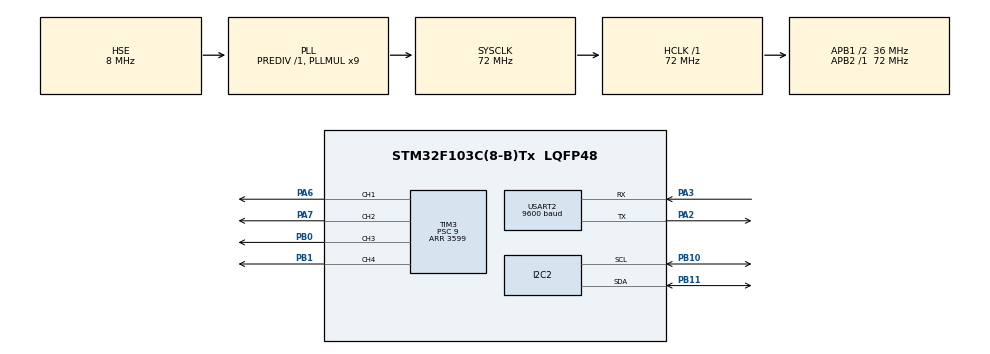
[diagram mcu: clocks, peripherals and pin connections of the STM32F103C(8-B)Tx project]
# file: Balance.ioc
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I2C2.I2C_Mode=I2C_Fast
Mcu.Family=STM32F1
Mcu.Name=STM32F103C(8-B)Tx
Mcu.Package=LQFP48
NVIC.PriorityGroup=NVIC_PRIORITYGROUP_4
NVIC.TIM2_IRQn=true\:1\:0\:true\:false\:true\:true\:true\:true
PA2.Mode=Asynchronous
PA2.Signal=USART2_TX
PA3.Mode=Asynchronous
PA3.Signal=USART2_RX
PA6.Signal=S_TIM3_CH1
PA7.Signal=S_TIM3_CH2
PB0.Signal=S_TIM3_CH3
PB1.Signal=S_TIM3_CH4
PB10.Mode=I2C
PB10.Signal=I2C2_SCL
PB11.Mode=I2C
PB11.Signal=I2C2_SDA
PD0-OSC_IN.Mode=HSE-External-Oscillator
PD0-OSC_IN.Signal=RCC_OSC_IN
PD1-OSC_OUT.Mode=HSE-External-Oscillator
PD1-OSC_OUT.Signal=RCC_OSC_OUT
ProjectManager.HeapSize=0x200
ProjectManager.StackSize=0x400
ProjectManager.TargetToolchain=STM32CubeIDE
RCC.AHBFreq_Value=72000000
RCC.APB1CLKDivider=RCC_HCLK_DIV2
RCC.APB1Freq_Value=36000000
RCC.APB1TimFreq_Value=72000000
RCC.APB2Freq_Value=72000000
RCC.APB2TimFreq_Value=72000000
RCC.HCLKFreq_Value=72000000
RCC.PLLMUL=RCC_PLL_MUL9
RCC.PLLSourceVirtual=RCC_PLLSOURCE_HSE
RCC.SYSCLKFreq_VALUE=72000000
RCC.SYSCLKSource=RCC_SYSCLKSOURCE_PLLCLK
RCC.USBFreq_Value=72000000
SH.S_TIM3_CH1.0=TIM3_CH1,PWM Generation1 CH1
SH.S_TIM3_CH2.0=TIM3_CH2,PWM Generation2 CH2
SH.S_TIM3_CH3.0=TIM3_CH3,PWM Generation3 CH3
SH.S_TIM3_CH4.0=TIM3_CH4,PWM Generation4 CH4
TIM2.Period=7199
TIM2.Prescaler=99
TIM3.Channel-PWM\ Generation1\ CH1=TIM_CHANNEL_1
TIM3.Channel-PWM\ Generation2\ CH2=TIM_CHANNEL_2
TIM3.Channel-PWM\ Generation3\ CH3=TIM_CHANNEL_3
TIM3.Channel-PWM\ Generation4\ CH4=TIM_CHANNEL_4
TIM3.Period=3599
TIM3.Prescaler=9
USART2.BaudRate=9600
USART2.VirtualMode=VM_ASYNC
VP_TIM2_VS_ClockSourceINT.Mode=Internal
VP_TIM3_VS_ClockSourceINT.Mode=Internal
board=custom

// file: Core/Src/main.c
/* USER CODE BEGIN Header */
/**
  ******************************************************************************
  * @file           : main.c
  * @brief          : Main program body
  ******************************************************************************
  * @attention
  *
  * Copyright (c) 2023 STMicroelectronics.
  * All rights reserved.
  *
  * This software is licensed under terms that can be found in the LICENSE file
  * in the root directory of this software component.
  * If no LICENSE file comes with this software, it is provided AS-IS.
  *
  ******************************************************************************
  */
/* USER CODE END Header */
#include "main.h"
#include "i2c.h"
#include "tim.h"
#include "usart.h"
#include "gpio.h"

/* USER CODE BEGIN Includes */
#include "mpu6050.h"
#include "motor.h"
#include "Balance_fis.h"
/* USER CODE END Includes */

/* USER CODE BEGIN PD */

#define K_pitch 1/4
#define K_pitch_dot 1/70
#define K_u 3000
/* USER CODE END PD */

void SystemClock_Config(void);

/* USER CODE BEGIN 0 */

typedef struct {
	float pitch_dot;
	float pitch;
	float input[2];
	float output;
}Balance_t;

enum filter
{
	Kalman,
	CF
};

enum filter current;

uint32_t tim;

MPU6050_t MPU;
Motor_t motor1, motor2;
Balance_t Balance;

uint8_t buff[30];
int i;

/* USER CODE END 0 */

int main(void)
{

  /* MCU Configuration--------------------------------------------------------*/

  /* Reset of all peripherals, Initializes the Flash interface and the Systick. */
 HAL_Init();

  /* Configure the system clock */
  SystemClock_Config();

  /* Initialize all configured peripherals */
  MX_GPIO_Init();
  MX_TIM2_Init();
  MX_TIM3_Init();
  MX_I2C2_Init();
  MX_USART2_UART_Init();
  /* USER CODE BEGIN 2 */
  HAL_TIM_Base_Start_IT(&htim2);

  HAL_TIM_PWM_Start(&htim3, TIM_CHANNEL_1);
  HAL_TIM_PWM_Start(&htim3, TIM_CHANNEL_2);
  HAL_TIM_PWM_Start(&htim3, TIM_CHANNEL_3);
  HAL_TIM_PWM_Start(&htim3, TIM_CHANNEL_4);

  MPU6050_Init(&hi2c2);

  Balance_init();

  current = CF;

  /* USER CODE END 2 */

  /* Infinite loop */
  while (1)
  {

  }
}

void SystemClock_Config(void)
{
  RCC_OscInitTypeDef RCC_OscInitStruct = {0};
  RCC_ClkInitTypeDef RCC_ClkInitStruct = {0};

  /** Initializes the RCC Oscillators according to the specified parameters
  * in the RCC_OscInitTypeDef structure.
  */
  RCC_OscInitStruct.OscillatorType = RCC_OSCILLATORTYPE_HSE;
  RCC_OscInitStruct.HSEState = RCC_HSE_ON;
  RCC_OscInitStruct.HSEPredivValue = RCC_HSE_PREDIV_DIV1;
  RCC_OscInitStruct.HSIState = RCC_HSI_ON;
  RCC_OscInitStruct.PLL.PLLState = RCC_PLL_ON;
  RCC_OscInitStruct.PLL.PLLSource = RCC_PLLSOURCE_HSE;
  RCC_OscInitStruct.PLL.PLLMUL = RCC_PLL_MUL9;
  if (HAL_RCC_OscConfig(&RCC_OscInitStruct) != HAL_OK)
  {
    Error_Handler();
  }

  /** Initializes the CPU, AHB and APB buses clocks
  */
  RCC_ClkInitStruct.ClockType = RCC_CLOCKTYPE_HCLK|RCC_CLOCKTYPE_SYSCLK
                              |RCC_CLOCKTYPE_PCLK1|RCC_CLOCKTYPE_PCLK2;
  RCC_ClkInitStruct.SYSCLKSource = RCC_SYSCLKSOURCE_PLLCLK;
  RCC_ClkInitStruct.AHBCLKDivider = RCC_SYSCLK_DIV1;
  RCC_ClkInitStruct.APB1CLKDivider = RCC_HCLK_DIV2;
  RCC_ClkInitStruct.APB2CLKDivider = RCC_HCLK_DIV1;

  if (HAL_RCC_ClockConfig(&RCC_ClkInitStruct, FLASH_LATENCY_2) != HAL_OK)
  {
    Error_Handler();
  }
}

/* USER CODE BEGIN 4 */
void HAL_TIM_PeriodElapsedCallback(TIM_HandleTypeDef *htim)
{

	  if(htim->Instance == htim2.Instance)
	  {

		  double dt = (double)(HAL_GetTick() - tim) / 1000;
		  tim = HAL_GetTick();

		  MPU6050_Read_All(&hi2c2, &MPU);

		  switch(current){

		  case Kalman:
			  MPU.KalmanAngleY += 1.12;

			  Balance.pitch_dot = (MPU.KalmanAngleY - Balance.pitch) / dt ;

			  Balance.input[0] = MPU.KalmanAngleY *  K_pitch;
			  Balance.input[1] = Balance.pitch_dot * K_pitch_dot;

			  Balance.pitch = MPU.KalmanAngleY;

			  Balance_run(Balance.input, &Balance.output);
			  break;

		  case CF:

			 // MPU.CFAngleY += 0.02;

			  Balance.pitch_dot = (MPU.CFAngleY - Balance.pitch) / dt;

			  Balance.input[0] = MPU.CFAngleY *  K_pitch;
			  Balance.input[1] = Balance.pitch_dot * K_pitch_dot;

			  Balance.pitch = MPU.CFAngleY;

			   Balance_run(Balance.input, &Balance.output);

			   break;

		  }
		  if(Balance.input[0] < -10 || Balance.input[0] > 10)
		  	  {
			  	  Balance.output = 0;
		  	  }

		  MotorSetDuty1(Balance.output * K_u);
		  MotorSetDuty2(Balance.output * K_u);

//		  sprintf(buff,"     e=%.2f e.=%.2f        ", Balance.input[0], Balance.input[1]);
//
//
//		  if( i == 10){
//			  HAL_UART_Transmit(&huart2, buff, 10, 100);
//			  i = 0;
//		  }
//		  i++;

	  }
}

/* USER CODE END 4 */

void Error_Handler(void)
{
  __disable_irq();
  while (1)
  {
  }
}
